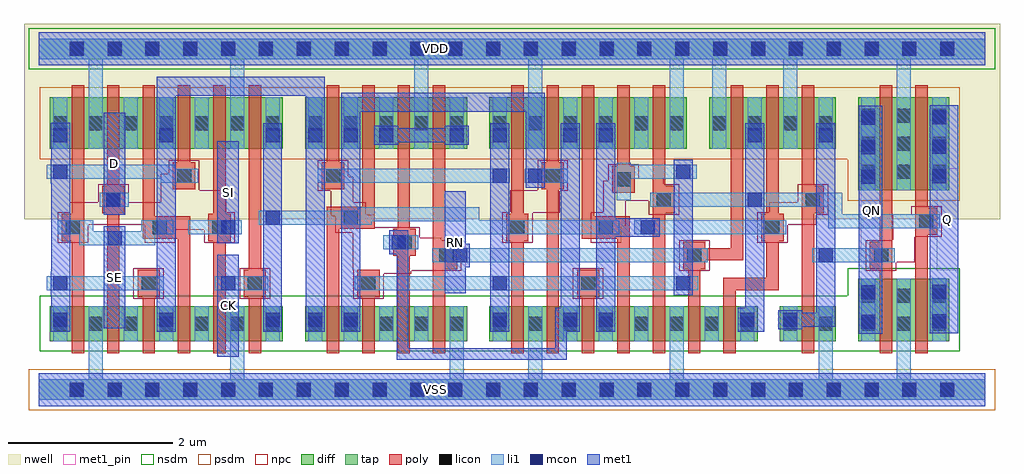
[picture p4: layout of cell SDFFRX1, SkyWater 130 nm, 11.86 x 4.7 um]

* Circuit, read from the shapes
.subckt SDFFRX1 CK D Q QN RN SE SI VDD VSS
XM1 VSS SE n1 VSS sky130_fd_pr__nfet_01v8 w=0.425 l=0.15
XM2 n2 D VSS VSS sky130_fd_pr__nfet_01v8 w=0.425 l=0.15
XM3 n3 n1 n2 VSS sky130_fd_pr__nfet_01v8 w=0.425 l=0.15
XM4 n4 SE n3 VSS sky130_fd_pr__nfet_01v8 w=0.425 l=0.15
XM5 VSS SI n4 VSS sky130_fd_pr__nfet_01v8 w=0.425 l=0.15
XM6 n5 CK VSS VSS sky130_fd_pr__nfet_01v8 w=0.425 l=0.15
XM7 n6 n5 n3 VSS sky130_fd_pr__nfet_01v8 w=0.425 l=0.15
XM8 n7 n8 n6 VSS sky130_fd_pr__nfet_01v8 w=0.425 l=0.15
XM9 n9 n10 n7 VSS sky130_fd_pr__nfet_01v8 w=0.425 l=0.15
XM10 VSS RN n9 VSS sky130_fd_pr__nfet_01v8 w=0.425 l=0.15
XM11 VSS n5 n8 VSS sky130_fd_pr__nfet_01v8 w=0.425 l=0.15
XM12 n10 n6 VSS VSS sky130_fd_pr__nfet_01v8 w=0.425 l=0.15
XM13 n11 n8 n10 VSS sky130_fd_pr__nfet_01v8 w=0.425 l=0.15
XM14 n12 n5 n11 VSS sky130_fd_pr__nfet_01v8 w=0.425 l=0.15
XM15 VSS n13 n12 VSS sky130_fd_pr__nfet_01v8 w=0.425 l=0.15
XM16 n14 RN VSS VSS sky130_fd_pr__nfet_01v8 w=0.425 l=0.15
XM17 n13 n11 n14 VSS sky130_fd_pr__nfet_01v8 w=0.425 l=0.15
XM18 VSS n13 n15 VSS sky130_fd_pr__nfet_01v8 w=0.425 l=0.15
XM19 VSS n15 QN VSS sky130_fd_pr__nfet_01v8 w=0.76 l=0.15
XM20 Q n13 VSS VSS sky130_fd_pr__nfet_01v8 w=0.76 l=0.15
XM21 VDD SE n1 VDD sky130_fd_pr__pfet_01v8 w=0.625 l=0.15
XM22 n16 D VDD VDD sky130_fd_pr__pfet_01v8 w=0.625 l=0.15
XM23 n3 SE n16 VDD sky130_fd_pr__pfet_01v8 w=0.625 l=0.15
XM24 n17 n1 n3 VDD sky130_fd_pr__pfet_01v8 w=0.625 l=0.15
XM25 VDD SI n17 VDD sky130_fd_pr__pfet_01v8 w=0.625 l=0.15
XM26 n5 CK VDD VDD sky130_fd_pr__pfet_01v8 w=0.625 l=0.15
XM27 n6 n8 n3 VDD sky130_fd_pr__pfet_01v8 w=0.625 l=0.15
XM28 n18 n5 n6 VDD sky130_fd_pr__pfet_01v8 w=0.625 l=0.15
XM29 VDD n10 n18 VDD sky130_fd_pr__pfet_01v8 w=0.625 l=0.15
XM30 n18 RN VDD VDD sky130_fd_pr__pfet_01v8 w=0.625 l=0.15
XM31 VDD n5 n8 VDD sky130_fd_pr__pfet_01v8 w=0.625 l=0.15
XM32 n10 n6 VDD VDD sky130_fd_pr__pfet_01v8 w=0.625 l=0.15
XM33 n11 n5 n10 VDD sky130_fd_pr__pfet_01v8 w=0.625 l=0.15
XM34 n19 n8 n11 VDD sky130_fd_pr__pfet_01v8 w=0.625 l=0.15
XM35 VDD n13 n19 VDD sky130_fd_pr__pfet_01v8 w=0.625 l=0.15
XM36 n13 RN VDD VDD sky130_fd_pr__pfet_01v8 w=0.625 l=0.15
XM37 VDD n11 n13 VDD sky130_fd_pr__pfet_01v8 w=0.625 l=0.15
XM38 n15 n13 VDD VDD sky130_fd_pr__pfet_01v8 w=0.625 l=0.15
XM39 VDD n15 QN VDD sky130_fd_pr__pfet_01v8 w=1.13 l=0.15
XM40 Q n13 VDD VDD sky130_fd_pr__pfet_01v8 w=1.13 l=0.15
.ends

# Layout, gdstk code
import gdstk
lib = gdstk.Library(unit=1e-6, precision=1e-09)
def R(c, l, rs):  # rectangles x0, y0, x1, y1
    for r in rs: c.add(gdstk.rectangle(r[:2], r[2:], *l))
def A(c, l, x, y, w, h, nx, ny, dx, dy):  # array of equal rectangles
    R(c, l, [(x+i*dx, y+j*dy, x+i*dx+w, y+j*dy+h) for i in range(nx) for j in range(ny)])
nwell = (64, 20)
diff = (65, 20)
tap = (65, 44)
poly = (66, 20)
licon = (66, 44)
li1 = (67, 20)
mcon = (67, 44)
met1_pin = (68, 16)
met1 = (68, 20)
nsdm = (93, 44)
psdm = (94, 20)
npc = (95, 20)

sdffrx1 = lib.new_cell('SDFFRX1')
R(sdffrx1, nwell, [(-0.18,2.07,11.68,4.445)])
R(sdffrx1, diff, [(0.135,0.59,2.965,1.015), (3.235,0.59,5.205,1.015), (5.475,0.59,8.735,1.015), (9.005,0.59,9.685,1.015), (9.955,0.59,11.065,1.35), (9.955,2.42,11.065,3.55), (0.135,2.925,2.965,3.55), (3.235,2.925,5.205,3.55), (5.475,2.925,7.875,3.55), (8.145,2.925,9.685,3.55)])
R(sdffrx1, tap, [(0,-0.125,11.5,0.125), (0,4.015,11.5,4.265)])
R(sdffrx1, poly, [(0.4,0.44,0.55,1.805), (0.83,0.44,0.98,2.145), (1.26,0.44,1.41,1.125), (1.69,0.44,1.84,1.835), (2.12,0.44,2.27,1.805), (2.55,0.44,2.7,1.125), (3.5,0.44,3.65,1.955), (3.93,0.44,4.08,1.125), (4.36,0.44,4.51,1.625), (4.79,0.44,4.94,1.465), (5.74,0.44,5.89,1.805), (6.17,0.44,6.32,2.435), (6.6,0.44,6.75,1.125), (7.03,0.44,7.18,1.835), (7.46,0.44,7.61,2.145), (7.89,0.44,8.04,1.465), (8.32,0.44,8.47,1.21), (9.27,0.44,9.42,2.145), (10.22,0.44,10.37,1.465), (10.65,0.44,10.8,1.88), (1.2,1.125,1.47,1.455), (2.49,1.125,2.76,1.455), (3.87,1.125,4.14,1.455), (6.54,1.125,6.81,1.455), (8.32,1.21,8.99,1.36), (8.84,1.36,8.99,1.805), (2.55,1.455,2.7,3.7), (4.79,1.465,5.085,1.795), (7.83,1.465,8.1,1.57), (10.1,1.465,10.37,1.795), (7.83,1.57,8.56,1.72), (4.31,1.625,4.58,1.955), (7.83,1.72,8.1,1.795), (8.41,1.72,8.56,3.7), (4.79,1.795,4.94,3.7), (10.22,1.795,10.37,3.7), (0.28,1.805,0.55,2.135), (2.06,1.805,2.33,2.135), (5.68,1.805,5.95,2.135), (8.78,1.805,9.05,2.135), (1.26,1.835,1.84,2.105), (6.6,1.835,7.18,2.105), (10.65,1.88,10.92,2.21), (3.5,1.955,4.08,2.225), (4.36,1.955,4.51,3.7), (1.26,2.105,1.41,3.7), (6.6,2.105,6.75,3.7), (0.4,2.135,0.55,3.7), (2.12,2.135,2.27,3.7), (5.74,2.135,5.89,3.7), (8.84,2.135,8.99,3.7), (0.77,2.145,1.04,2.475), (7.46,2.145,7.73,2.475), (9.27,2.145,9.54,2.475), (10.65,2.21,10.8,3.7), (3.93,2.225,4.08,3.7), (6.97,2.39,7.24,2.72), (1.63,2.435,1.9,2.765), (3.44,2.435,3.71,2.765), (6.11,2.435,6.38,2.765), (0.83,2.475,0.98,3.7), (7.46,2.475,7.61,3.7), (9.27,2.475,9.42,3.7), (7.03,2.72,7.18,3.7), (1.69,2.765,1.84,3.7), (3.5,2.765,3.65,3.7), (6.17,2.765,6.32,3.7)])
A(sdffrx1, licon, 0.375, -0.085, 0.17, 0.17, 24, 2, 0.46, 4.14)
A(sdffrx1, licon, 0.175, 0.715, 0.17, 0.17, 7, 2, 0.43, 2.435)
A(sdffrx1, licon, 3.275, 0.715, 0.17, 0.17, 5, 2, 0.43, 2.435)
A(sdffrx1, licon, 5.515, 0.715, 0.17, 0.17, 8, 1, 0.43, 0)
A(sdffrx1, licon, 9.995, 0.715, 0.17, 0.17, 3, 2, 0.43, 0.34)
A(sdffrx1, licon, 9.995, 2.56, 0.17, 0.17, 3, 3, 0.43, 0.34)
A(sdffrx1, licon, 5.515, 3.15, 0.17, 0.17, 6, 1, 0.43, 0)
A(sdffrx1, licon, 8.185, 3.15, 0.17, 0.17, 4, 1, 0.43, 0)
R(sdffrx1, licon, [(9.045,0.715,9.215,0.885), (9.475,0.715,9.645,0.885), (1.25,1.205,1.42,1.375), (2.54,1.205,2.71,1.375), (3.92,1.205,4.09,1.375), (6.59,1.205,6.76,1.375), (4.865,1.545,5.035,1.715), (7.88,1.545,8.05,1.715), (10.15,1.545,10.32,1.715), (4.36,1.705,4.53,1.875), (0.33,1.885,0.5,2.055), (1.385,1.885,1.555,2.055), (2.11,1.885,2.28,2.055), (5.73,1.885,5.9,2.055), (6.805,1.885,6.975,2.055), (8.83,1.885,9,2.055), (10.7,1.96,10.87,2.13), (3.705,2.005,3.875,2.175), (0.82,2.225,0.99,2.395), (7.51,2.225,7.68,2.395), (9.32,2.225,9.49,2.395), (7.02,2.47,7.19,2.64), (1.68,2.515,1.85,2.685), (3.49,2.515,3.66,2.685), (6.16,2.515,6.33,2.685)])
A(sdffrx1, li1, 1.035, 0.59, 0.17, 0.425, 3, 1, 0.43, 0)
A(sdffrx1, li1, 3.275, 0.59, 0.17, 0.425, 4, 1, 0.43, 0)
A(sdffrx1, li1, 6.375, 0.59, 0.17, 0.425, 3, 1, 0.43, 0)
A(sdffrx1, li1, 1.035, 2.925, 0.17, 0.625, 3, 1, 0.43, 0)
A(sdffrx1, li1, 3.275, 2.925, 0.17, 0.625, 3, 1, 0.43, 0)
A(sdffrx1, li1, 6.375, 2.925, 0.17, 0.625, 3, 1, 0.43, 0)
R(sdffrx1, li1, [(0,-0.125,11.5,0.125), (0.605,0.125,0.775,1.015), (2.325,0.125,2.495,1.015), (4.995,0.125,5.165,1.015), (5.945,0.125,6.115,1.015), (7.665,0.125,7.835,1.015), (9.475,0.125,9.645,1.015), (10.425,0.125,10.595,1.35), (0.175,0.59,0.345,1.015), (2.755,0.59,2.925,1.015), (5.515,0.59,5.685,1.015), (8.095,0.59,8.265,1.015), (8.525,0.59,8.695,1.015), (9.045,0.59,9.215,1.015), (9.995,0.59,10.165,1.35), (10.855,0.59,11.025,1.355), (0.095,1.205,1.52,1.375), (2.135,1.205,2.79,1.375), (3.84,1.205,8.015,1.375), (4.78,1.545,8.13,1.715), (9.4,1.545,10.4,1.715), (4.185,1.705,4.61,1.875), (0.49,1.755,1.415,1.885), (0.23,1.885,1.635,1.925), (1.815,1.885,2.465,2.055), (5.18,1.885,7.055,2.045), (7.235,1.885,9.08,2.055), (0.23,1.925,0.66,2.055), (1.245,1.925,1.635,2.055), (9.595,1.96,10.95,2.13), (2.675,2.005,4.045,2.045), (2.675,2.045,7.055,2.055), (2.675,2.055,5.35,2.175), (9.595,2.13,9.765,2.225), (3.875,2.175,5.35,2.215), (0.74,2.225,1.09,2.395), (7.43,2.225,9.765,2.395), (7.02,2.3,7.19,2.565), (9.995,2.42,10.165,3.55), (10.425,2.42,10.595,4.015), (10.855,2.42,11.025,3.55), (1.48,2.515,1.935,2.565), (3.39,2.515,5.725,2.685), (5.905,2.515,6.43,2.685), (0.095,2.565,1.935,2.685), (7.02,2.565,7.995,2.735), (0.095,2.685,1.65,2.735), (7.02,2.735,7.19,2.755), (0.175,2.925,0.345,3.55), (0.605,2.925,0.775,4.015), (2.325,2.925,2.495,4.015), (2.755,2.925,2.925,3.55), (4.565,2.925,4.735,4.015), (4.995,2.925,5.165,3.55), (5.515,2.925,5.685,3.55), (5.945,2.925,6.115,4.015), (7.665,2.925,7.835,4.015), (8.185,2.925,8.355,4.015), (8.615,2.925,8.785,3.55), (9.045,2.925,9.215,4.015), (9.475,2.925,9.65,3.255), (9.475,3.255,9.645,3.55), (0,4.015,11.5,4.265)])
A(sdffrx1, mcon, 0.375, -0.085, 0.17, 0.17, 24, 2, 0.46, 4.14)
A(sdffrx1, mcon, 0.175, 0.765, 0.17, 0.17, 3, 2, 1.29, 2.24)
A(sdffrx1, mcon, 9.995, 2.5, 0.17, 0.17, 1, 3, 0, 0.36)
A(sdffrx1, mcon, 10.855, 2.505, 0.17, 0.17, 1, 3, 0, 0.36)
A(sdffrx1, mcon, 3.275, 3.005, 0.17, 0.17, 3, 1, 0.43, 0)
R(sdffrx1, mcon, [(9.995,0.74,10.165,0.91), (10.855,0.745,11.025,0.915), (3.275,0.765,3.445,0.935), (3.705,0.765,3.875,0.935), (5.515,0.765,5.685,0.935), (6.375,0.765,6.545,0.935), (6.805,0.765,6.975,0.935), (8.525,0.765,8.695,0.935), (9.045,0.765,9.215,0.935), (9.995,1.1,10.165,1.27), (10.855,1.105,11.025,1.275), (0.175,1.205,0.345,1.375), (2.215,1.205,2.385,1.375), (5.515,1.205,5.685,1.375), (7.745,1.205,7.915,1.375), (5.035,1.545,5.205,1.715), (9.48,1.545,9.65,1.715), (4.29,1.705,4.46,1.875), (0.835,1.755,1.005,1.925), (2.215,1.885,2.385,2.055), (7.315,1.885,7.485,2.055), (2.755,2.005,2.925,2.175), (0.82,2.225,0.99,2.395), (8.615,2.225,8.785,2.395), (5.515,2.515,5.685,2.685), (5.945,2.515,6.115,2.685), (0.175,2.565,0.345,2.735), (7.745,2.565,7.915,2.735), (4.995,3.005,5.165,3.175), (5.515,3.005,5.685,3.175), (6.375,3.005,6.545,3.175), (6.805,3.005,6.975,3.175), (8.615,3.005,8.785,3.175), (9.48,3.005,9.65,3.175)])
R(sdffrx1, met1_pin, [(2.17,0.4,2.43,1.64), (0.79,0.745,1.05,1.985), (4.93,1.17,5.19,2.41), (10.91,1.45,11.17,2.69), (9.99,1.56,10.25,2.8), (2.17,1.78,2.43,3.02), (0.79,2.125,1.05,3.365)])
R(sdffrx1, met1, [(0,-0.2,11.5,0.2), (4.35,0.365,6.415,0.505), (2.17,0.4,2.43,1.64), (4.35,0.505,4.49,1.645), (6.275,0.505,6.415,0.705), (9.965,0.68,10.25,3.45), (10.825,0.685,11.17,3.455), (0.145,0.705,0.375,0.71), (1.435,0.705,1.665,3.57), (2.725,0.705,2.955,3.235), (3.245,0.705,3.475,3.57), (3.675,0.705,3.905,3.375), (5.485,0.705,5.715,3.235), (6.275,0.705,6.575,0.995), (6.775,0.705,7.005,1.855), (8.495,0.705,8.815,0.995), (0.145,0.71,0.38,0.995), (8.985,0.735,9.275,0.765), (0.79,0.745,1.05,1.985), (8.985,0.765,9.68,0.935), (8.985,0.935,9.275,0.965), (9.45,0.935,9.68,3.235), (0.15,0.995,0.38,1.145), (6.345,0.995,6.575,3.235), (8.585,0.995,8.815,3.235), (0.145,1.145,0.38,1.435), (7.715,1.145,7.945,2.795), (4.93,1.17,5.19,1.485), (0.15,1.435,0.38,2.505), (4.93,1.485,5.235,1.775), (4.26,1.645,4.49,1.935), (4.93,1.775,5.19,2.41), (2.17,1.78,2.43,3.02), (6.775,1.855,7.545,2.085), (6.775,2.085,7.005,3.235), (0.79,2.125,1.05,3.365), (5.915,2.455,6.145,3.375), (0.145,2.505,0.38,2.795), (0.15,2.795,0.38,2.945), (0.145,2.945,0.38,3.235), (4.075,2.975,4.365,3.005), (4.935,2.975,5.225,3.005), (4.075,3.005,5.225,3.175), (4.075,3.175,4.365,3.205), (4.935,3.175,5.225,3.205), (0.15,3.235,0.38,3.24), (3.675,3.375,6.145,3.605), (1.435,3.57,3.475,3.8), (0,3.94,11.5,4.34)])
R(sdffrx1, nsdm, [(0.01,0.465,11.19,1.14), (9.83,1.14,11.19,1.475), (-0.125,3.89,11.625,4.39)])
R(sdffrx1, psdm, [(-0.125,-0.25,11.625,0.25), (9.83,2.295,11.19,2.8), (0.01,2.8,11.19,3.675)])
R(sdffrx1, npc, [(1.15,1.105,1.52,1.475), (2.44,1.105,2.81,1.475), (3.82,1.105,4.19,1.405), (6.49,1.105,6.86,1.475), (3.82,1.405,4.525,1.445), (3.82,1.445,5.135,1.455), (7.78,1.445,8.15,1.815), (10.05,1.445,10.42,1.545), (3.815,1.455,5.135,1.815), (10.05,1.545,10.645,1.815), (0.23,1.785,0.6,2.005), (1.285,1.785,1.655,1.945), (2.01,1.785,2.38,1.945), (5.63,1.785,6,2.15), (6.705,1.785,7.075,1.985), (8.73,1.785,9.1,2.005), (3.815,1.815,4.89,1.845), (10.375,1.815,10.645,1.86), (3.815,1.845,4.63,1.905), (10.375,1.86,10.97,2.13), (3.605,1.905,4.63,1.975), (1.285,1.945,2.38,2.005), (3.605,1.975,4.085,2.105), (6.705,1.985,7.135,2.155), (0.23,2.005,2.38,2.155), (8.73,2.005,9.445,2.125), (3.545,2.105,4.085,2.125), (3.545,2.125,3.975,2.275), (7.41,2.125,7.78,2.295), (8.73,2.125,9.59,2.155), (10.6,2.13,10.97,2.23), (5.63,2.15,6.33,2.155), (0.375,2.155,2.28,2.275), (5.73,2.155,6.33,2.415), (6.86,2.155,7.135,2.295), (8.875,2.155,9.59,2.275), (0.72,2.275,1.09,2.495), (1.48,2.275,2.28,2.42), (3.545,2.275,3.82,2.415), (9.22,2.275,9.59,2.495), (6.86,2.295,7.78,2.495), (3.39,2.415,3.82,2.585), (5.73,2.415,6.43,2.42), (1.48,2.42,1.95,2.625), (6.06,2.42,6.43,2.785), (6.86,2.495,7.595,2.54), (6.92,2.54,7.595,2.57), (6.92,2.57,7.29,2.74), (3.39,2.585,3.76,2.785), (1.58,2.625,1.95,2.785)])
sdffrx1.add(gdstk.Label('VSS', (4.825,0.005), layer=68, texttype=5))
sdffrx1.add(gdstk.Label('VDD', (4.825,4.145), layer=68, texttype=5))
sdffrx1.add(gdstk.Label('Q', (11.04,2.07), layer=68, texttype=5))
sdffrx1.add(gdstk.Label('QN', (10.12,2.18), layer=68, texttype=5))
sdffrx1.add(gdstk.Label('RN', (5.06,1.79), layer=68, texttype=5))
sdffrx1.add(gdstk.Label('CK', (2.3,1.02), layer=68, texttype=5))
sdffrx1.add(gdstk.Label('SI', (2.3,2.4), layer=68, texttype=5))
sdffrx1.add(gdstk.Label('SE', (0.92,1.365), layer=68, texttype=5))
sdffrx1.add(gdstk.Label('D', (0.92,2.745), layer=68, texttype=5))

lib.write_gds('SDFFRX1.gds')
